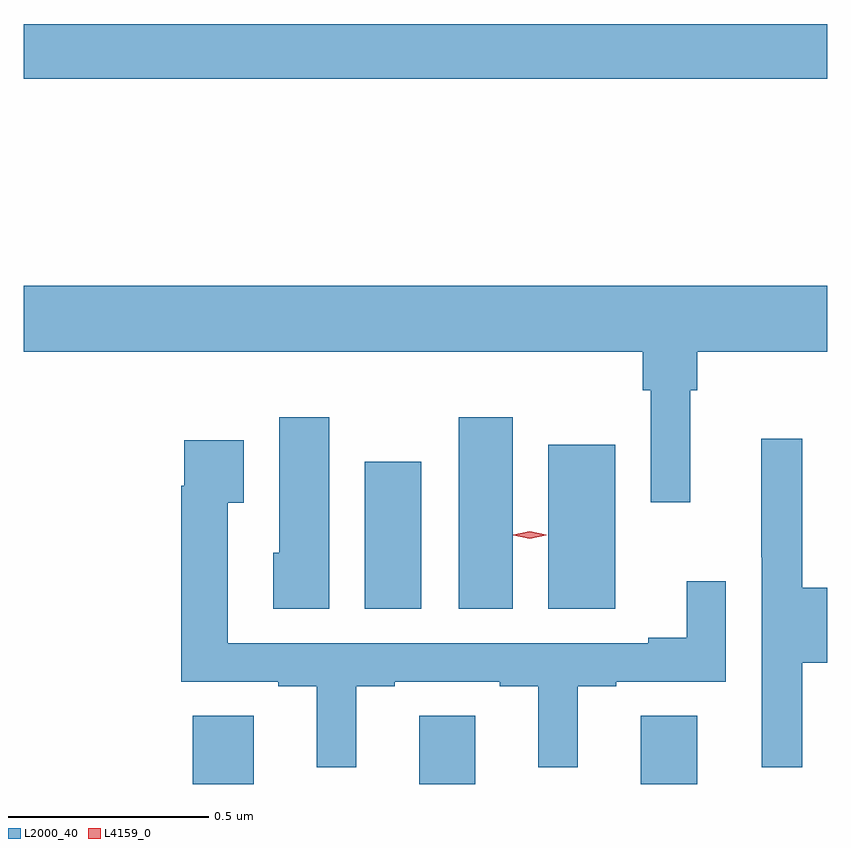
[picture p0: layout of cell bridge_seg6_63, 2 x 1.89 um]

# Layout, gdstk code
import gdstk
lib = gdstk.Library(unit=1e-6, precision=1e-09)
def R(c, l, rs):  # rectangles x0, y0, x1, y1
    for r in rs: c.add(gdstk.rectangle(r[:2], r[2:], *l))
def P(c, l, *ps):  # polygons
    for p in ps: c.add(gdstk.Polygon(p, *l))
L2000_40 = (2000, 40)
L4159_0 = (4159, 0)

bridge_seg6_63 = lib.new_cell('bridge_seg6_63')
R(bridge_seg6_63, L2000_40, [(865.997,987.552,866.149,987.722), (866.561,987.552,866.701,987.722), (867.113,987.552,867.253,987.722), (866.426,987.988,866.566,988.354), (866.66,987.988,866.794,988.465), (866.882,987.988,867.049,988.396), (865.577,989.308,867.577,989.444)])
P(bridge_seg6_63, L2000_40, [(867.236,988.532),(867.254,988.532),(867.254,988.628),(867.577,988.628),(867.577,988.792),(865.577,988.792),(865.577,988.628),(867.118,988.628),(867.118,988.532),(867.138,988.532),(867.138,988.254),(867.236,988.254)],
  [(866.338,988.465),(866.213,988.465),(866.213,988.128),(866.198,988.128),(866.198,987.988),(866.338,987.988)],
  [(867.515,987.854),(867.577,987.854),(867.577,988.04),(867.515,988.04),(867.515,988.411),(867.413,988.411),(867.413,988.117),(867.414,988.117),(867.414,987.594),(867.515,987.594)],
  [(866.404,987.795),(866.5,987.795),(866.5,987.807),(866.762,987.807),(866.762,987.795),(866.858,987.795),(866.858,987.594),(866.956,987.594),(866.956,987.795),(867.052,987.795),(867.052,987.807),(867.324,987.807),(867.324,988.057),(867.227,988.057),(867.227,987.916),(867.131,987.916),(867.131,987.903),(866.085,987.903),(866.085,988.252),(866.125,988.252),(866.125,988.408),(865.977,988.408),(865.977,988.295),(865.969,988.295),(865.969,987.807),(866.21,987.807),(866.21,987.795),(866.306,987.795),(866.306,987.594),(866.404,987.594)])
P(bridge_seg6_63, L4159_0, [(866.837,988.162),(866.796,988.171),(866.795,988.172),(866.796,988.172),(866.837,988.181),(866.878,988.172),(866.878,988.171),(866.878,988.171)])

lib.write_gds('bridge_seg6_63.gds')
